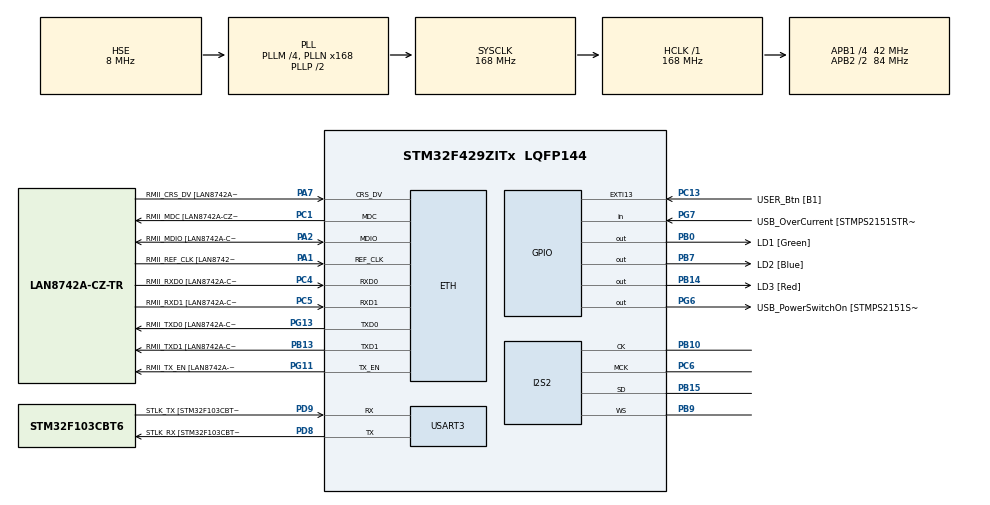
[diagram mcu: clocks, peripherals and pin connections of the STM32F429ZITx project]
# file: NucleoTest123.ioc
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Dma.Request0=SPI2_TX
Dma.SPI2_TX.0.Direction=DMA_MEMORY_TO_PERIPH
Dma.SPI2_TX.0.FIFOMode=DMA_FIFOMODE_DISABLE
Dma.SPI2_TX.0.Instance=DMA1_Stream4
Dma.SPI2_TX.0.MemDataAlignment=DMA_MDATAALIGN_HALFWORD
Dma.SPI2_TX.0.MemInc=DMA_MINC_ENABLE
Dma.SPI2_TX.0.Mode=DMA_CIRCULAR
Dma.SPI2_TX.0.PeriphDataAlignment=DMA_PDATAALIGN_HALFWORD
Dma.SPI2_TX.0.PeriphInc=DMA_PINC_DISABLE
Dma.SPI2_TX.0.Priority=DMA_PRIORITY_HIGH
ETH.MediaInterface=HAL_ETH_RMII_MODE
ETH.PHY_Name=LAN8742A_PHY_ADDRESS
ETH.PHY_Value=0
ETH.PhyAddress=0
I2S2.AudioFreq=I2S_AUDIOFREQ_11K
I2S2.ErrorAudioFreq=0.26 %
I2S2.FullDuplexMode=I2S_FULLDUPLEXMODE_DISABLE
I2S2.Instance=SPI$Index
I2S2.RealAudioFreq=11.029 KHz
I2S2.VirtualMode=I2S_MODE_MASTER
LWIP.BSP.number=1
LWIP.GATEWAY_ADDRESS=000.000.000.000
LWIP.IP_ADDRESS=192.168.000.123
LWIP.LWIP_DHCP=0
LWIP.NETMASK_ADDRESS=255.255.255.000
LWIP.Version=v2.1.2_Cube
LWIP0.BSP.STBoard=false
LWIP0.BSP.api=BSP_COMPONENT_DRIVER
LWIP0.BSP.component=LAN8742
LWIP0.BSP.instance=LAN8742
LWIP0.BSP.name=Driver_PHY
LWIP0.BSP.semaphore=S_LAN8742
LWIP0.BSP.solution=LAN8742
Mcu.Family=STM32F4
Mcu.Name=STM32F429ZITx
Mcu.Package=LQFP144
NVIC.DMA1_Stream4_IRQn=true\:0\:0\:false\:false\:true\:false\:true\:true
NVIC.PriorityGroup=NVIC_PRIORITYGROUP_4
NVIC.USART3_IRQn=true\:0\:0\:false\:false\:true\:true\:true\:true
PA1.GPIO_Label=RMII_REF_CLK [LAN8742A-CZ-TR_REFCLK0]
PA1.Mode=RMII
PA1.Signal=ETH_REF_CLK
PA10.GPIO_Label=USB_ID
PA10.Signal=USB_OTG_FS_ID
PA11.GPIO_Label=USB_DM
PA11.Signal=USB_OTG_FS_DM
PA12.GPIO_Label=USB_DP
PA12.Signal=USB_OTG_FS_DP
PA13.GPIO_Label=TMS
PA13.Mode=Serial_Wire
PA13.Signal=SYS_JTMS-SWDIO
PA14.GPIO_Label=TCK
PA14.Mode=Serial_Wire
PA14.Signal=SYS_JTCK-SWCLK
PA2.GPIO_Label=RMII_MDIO [LAN8742A-CZ-TR_MDIO]
PA2.Mode=RMII
PA2.Signal=ETH_MDIO
PA7.GPIO_Label=RMII_CRS_DV [LAN8742A-CZ-TR_CRS_DV]
PA7.Mode=RMII
PA7.Signal=ETH_CRS_DV
PA8.GPIO_Label=USB_SOF [TP1]
PA8.Signal=USB_OTG_FS_SOF
PA9.GPIO_Label=USB_VBUS
PA9.Signal=USB_OTG_FS_VBUS
PB0.GPIO_Label=LD1 [Green]
PB0.Signal=GPIO_Output
PB10.Mode=Half_Duplex_Master
PB10.Signal=I2S2_CK
PB13.GPIO_Label=RMII_TXD1 [LAN8742A-CZ-TR_TXD1]
PB13.Mode=RMII
PB13.Signal=ETH_TXD1
PB14.GPIO_Label=LD3 [Red]
PB14.Signal=GPIO_Output
PB15.Mode=Half_Duplex_Master
PB15.Signal=I2S2_SD
PB7.GPIO_Label=LD2 [Blue]
PB7.Signal=GPIO_Output
PB9.Mode=Half_Duplex_Master
PB9.Signal=I2S2_WS
PC1.GPIO_Label=RMII_MDC [LAN8742A-CZ-TR_MDC]
PC1.Mode=RMII
PC1.Signal=ETH_MDC
PC13.GPIO_Label=USER_Btn [B1]
PC13.Signal=GPXTI13
PC14/OSC32_IN.Mode=LSE-External-Oscillator
PC14/OSC32_IN.Signal=RCC_OSC32_IN
PC15/OSC32_OUT.Mode=LSE-External-Oscillator
PC15/OSC32_OUT.Signal=RCC_OSC32_OUT
PC4.GPIO_Label=RMII_RXD0 [LAN8742A-CZ-TR_RXD0]
PC4.Mode=RMII
PC4.Signal=ETH_RXD0
PC5.GPIO_Label=RMII_RXD1 [LAN8742A-CZ-TR_RXD1]
PC5.Mode=RMII
PC5.Signal=ETH_RXD1
PC6.Mode=Master_Clock_Activated
PC6.Signal=I2S2_MCK
PD8.GPIO_Label=STLK_RX [STM32F103CBT6_PA3]
PD8.Mode=Asynchronous
PD8.Signal=USART3_TX
PD9.GPIO_Label=STLK_TX [STM32F103CBT6_PA2]
PD9.Mode=Asynchronous
PD9.Signal=USART3_RX
PG11.GPIO_Label=RMII_TX_EN [LAN8742A-CZ-TR_TXEN]
PG11.Mode=RMII
PG11.Signal=ETH_TX_EN
PG13.GPIO_Label=RMII_TXD0 [LAN8742A-CZ-TR_TXD0]
PG13.Mode=RMII
PG13.Signal=ETH_TXD0
PG6.GPIO_Label=USB_PowerSwitchOn [STMPS2151STR_EN]
PG6.Signal=GPIO_Output
PG7.GPIO_Label=USB_OverCurrent [STMPS2151STR_FAULT]
PG7.Signal=GPIO_Input
PH0/OSC_IN.GPIO_Label=MCO [STM32F103CBT6_PA8]
PH0/OSC_IN.Mode=HSE-External-Clock-Source
PH0/OSC_IN.Signal=RCC_OSC_IN
PH1/OSC_OUT.Mode=HSE-External-Clock-Source
PH1/OSC_OUT.Signal=RCC_OSC_OUT
ProjectManager.HeapSize=0x200
ProjectManager.StackSize=0x400
ProjectManager.TargetToolchain=Makefile
RCC.48MHZClocksFreq_Value=48000000
RCC.AHBFreq_Value=168000000
RCC.APB1CLKDivider=RCC_HCLK_DIV4
RCC.APB1Freq_Value=42000000
RCC.APB1TimFreq_Value=84000000
RCC.APB2CLKDivider=RCC_HCLK_DIV2
RCC.APB2Freq_Value=84000000
RCC.APB2TimCLKDivider=2
RCC.APB2TimFreq_Value=168000000
RCC.CortexFreq_Value=168000000
RCC.HCLKFreq_Value=168000000
RCC.HSE_VALUE=8000000
RCC.HSI_VALUE=16000000
RCC.PLLM=4
RCC.PLLMUL=RCC_PLL_MUL9
RCC.PLLN=168
RCC.PLLQ=7
RCC.PLLSourceVirtual=RCC_PLLSOURCE_HSE
RCC.PRESCALERUSB=RCC_USBCLKSOURCE_PLL_DIV1_5
RCC.SYSCLKFreq_VALUE=168000000
RCC.SYSCLKSource=RCC_SYSCLKSOURCE_PLLCLK
RCC.SYSCLKSourceVirtual=RCC_SYSCLKSOURCE_PLLCLK
RCC.USBFreq_Value=48000000
RCC.VCOOutputFreq_Value=336000000
USART3.VirtualMode=VM_ASYNC
VP_LWIP_VS_Enabled.Mode=Enabled
board=NUCLEO-F429ZI

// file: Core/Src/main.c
/* USER CODE BEGIN Header */
/**
  ******************************************************************************
  * @file           : main.c
  * @brief          : Main program body
  ******************************************************************************
  * @attention
  *
  * Copyright (c) 2023 STMicroelectronics.
  * All rights reserved.
  *
  * This software is licensed under terms that can be found in the LICENSE file
  * in the root directory of this software component.
  * If no LICENSE file comes with this software, it is provided AS-IS.
  *
  ******************************************************************************
  */
/* USER CODE END Header */
#include "main.h"
#include "dma.h"
#include "i2s.h"
#include "lwip.h"
#include "usart.h"
#include "gpio.h"

/* USER CODE BEGIN Includes */
#include <string.h>
/* USER CODE END Includes */

/* USER CODE BEGIN PV */
extern unsigned char* _binary_klassiskt_wav_start;
const int headerlen = 44;
typedef struct _wavefile {
  unsigned char ckid_riff[4];
  unsigned int cksize;
  unsigned char ckid_wave[4];
  unsigned char ckid_fmt[4];
  unsigned int samplesize;
  unsigned short wFormatTag;
  unsigned short nChannels;
  unsigned int nSamplesPerSec;
  unsigned int nAvgBytesPerSec;
  unsigned short nBlockAlign;
  unsigned short wBitsPerSample;
  unsigned char ckid_data[4];
  unsigned int datasize;
} WAVEFILE;
uint8_t foo[] = "TxHalfCpltCallback0\r\n";
uint8_t bar[] = "TxCpltCallback\r\n";
uint8_t barz[] = "TxCpltCallFUCK\r\n";
#define BUFSIZE 65534
#define HBUFSIZE (BUFSIZE/2)
uint16_t buffer[BUFSIZE];
uint16_t* buf_ptr;
int cnt = 0;
  WAVEFILE* wav_file = (WAVEFILE*)(&_binary_klassiskt_wav_start);
  uint16_t* wav_data_start = (uint16_t*)((uint32_t)(&_binary_klassiskt_wav_start) + headerlen);
/* USER CODE END PV */

void SystemClock_Config(void);

/* USER CODE BEGIN 0 */
void udp_recv_fn_callback(void *arg, struct udp_pcb *pcb, struct pbuf *p, const ip_addr_t *addr, u16_t port) {

  HAL_UART_Transmit_IT(&huart3, p->payload, p->len);
  udp_send(pcb, p);
}

void HAL_I2S_TxHalfCpltCallback(I2S_HandleTypeDef *hi2s) {
  //foo[18] += 1;
  //HAL_UART_Transmit_IT(&huart3, barz, 20);
  //foo[18] = (foo[18] == 0x39) ? 0x30 : foo[18];

  // do buffer shit
  memcpy(buffer, buf_ptr, HBUFSIZE*sizeof(buffer[0]));
}

void HAL_I2S_TxCpltCallback(I2S_HandleTypeDef *hi2s) {
  //HAL_UART_Transmit_IT(&huart3, bar, 17);
  memcpy((uint16_t*)(buffer+HBUFSIZE), (uint16_t*)(buf_ptr+HBUFSIZE), HBUFSIZE*sizeof(buffer[0]));
  buf_ptr += BUFSIZE;
  if (buf_ptr-wav_data_start > wav_file->datasize/2) {
    buf_ptr = wav_data_start;
  }
}

/* USER CODE END 0 */

int main(void)
{

  /* MCU Configuration--------------------------------------------------------*/

  /* Reset of all peripherals, Initializes the Flash interface and the Systick. */
  HAL_Init();

  /* Configure the system clock */
  SystemClock_Config();

  /* Initialize all configured peripherals */
  MX_GPIO_Init();
  MX_DMA_Init();
  MX_USART3_UART_Init();
  MX_LWIP_Init();
  MX_I2S2_Init();
  /* USER CODE BEGIN 2 */
  //HAL_UART_MspInit(&huart3);
  HAL_I2S_MspInit(&hi2s2);

  memcpy(buffer, wav_data_start, BUFSIZE);
  HAL_I2S_Transmit_DMA(&hi2s2, buffer, BUFSIZE);
  buf_ptr = (uint16_t*)(wav_data_start+BUFSIZE);
  /* USER CODE END 2 */

  /* Infinite loop */
  /* USER CODE BEGIN WHILE */
  while (1)
  {
    MX_LWIP_Process();
    /* USER CODE END WHILE */

  }
}

void SystemClock_Config(void)
{
  RCC_OscInitTypeDef RCC_OscInitStruct = {0};
  RCC_ClkInitTypeDef RCC_ClkInitStruct = {0};

  /** Configure the main internal regulator output voltage
  */
  __HAL_RCC_PWR_CLK_ENABLE();
  __HAL_PWR_VOLTAGESCALING_CONFIG(PWR_REGULATOR_VOLTAGE_SCALE1);

  /** Initializes the RCC Oscillators according to the specified parameters
  * in the RCC_OscInitTypeDef structure.
  */
  RCC_OscInitStruct.OscillatorType = RCC_OSCILLATORTYPE_HSE;
  RCC_OscInitStruct.HSEState = RCC_HSE_BYPASS;
  RCC_OscInitStruct.PLL.PLLState = RCC_PLL_ON;
  RCC_OscInitStruct.PLL.PLLSource = RCC_PLLSOURCE_HSE;
  RCC_OscInitStruct.PLL.PLLM = 4;
  RCC_OscInitStruct.PLL.PLLN = 168;
  RCC_OscInitStruct.PLL.PLLP = RCC_PLLP_DIV2;
  RCC_OscInitStruct.PLL.PLLQ = 7;
  if (HAL_RCC_OscConfig(&RCC_OscInitStruct) != HAL_OK)
  {
    Error_Handler();
  }

  /** Initializes the CPU, AHB and APB buses clocks
  */
  RCC_ClkInitStruct.ClockType = RCC_CLOCKTYPE_HCLK|RCC_CLOCKTYPE_SYSCLK
                              |RCC_CLOCKTYPE_PCLK1|RCC_CLOCKTYPE_PCLK2;
  RCC_ClkInitStruct.SYSCLKSource = RCC_SYSCLKSOURCE_PLLCLK;
  RCC_ClkInitStruct.AHBCLKDivider = RCC_SYSCLK_DIV1;
  RCC_ClkInitStruct.APB1CLKDivider = RCC_HCLK_DIV4;
  RCC_ClkInitStruct.APB2CLKDivider = RCC_HCLK_DIV2;

  if (HAL_RCC_ClockConfig(&RCC_ClkInitStruct, FLASH_LATENCY_5) != HAL_OK)
  {
    Error_Handler();
  }
}

void Error_Handler(void)
{
  __disable_irq();
  while (1)
  {
  }
}
